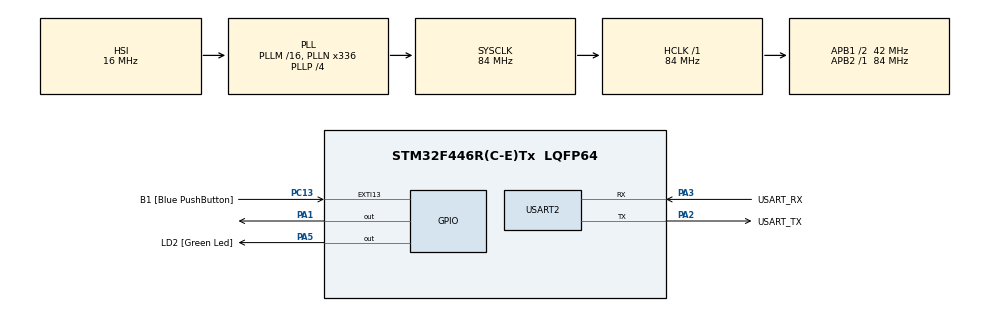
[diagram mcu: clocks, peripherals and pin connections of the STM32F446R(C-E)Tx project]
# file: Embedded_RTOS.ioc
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Mcu.Family=STM32F4
Mcu.Name=STM32F446R(C-E)Tx
Mcu.Package=LQFP64
NVIC.PriorityGroup=NVIC_PRIORITYGROUP_0
NVIC.TIM7_IRQn=true\:0\:0\:false\:false\:true\:true\:true\:true
PA1.Signal=GPIO_Output
PA13.GPIO_Label=TMS
PA13.Mode=Serial_Wire
PA13.Signal=SYS_JTMS-SWDIO
PA14.GPIO_Label=TCK
PA14.Mode=Serial_Wire
PA14.Signal=SYS_JTCK-SWCLK
PA2.GPIO_Label=USART_TX
PA2.Mode=Asynchronous
PA2.Signal=USART2_TX
PA3.GPIO_Label=USART_RX
PA3.Mode=Asynchronous
PA3.Signal=USART2_RX
PA5.GPIO_Label=LD2 [Green Led]
PA5.Signal=GPIO_Output
PB3.GPIO_Label=SWO
PB3.Signal=SYS_JTDO-SWO
PC13.GPIO_Label=B1 [Blue PushButton]
PC13.GPIO_ModeDefaultEXTI=GPIO_MODE_IT_FALLING
PC13.Signal=GPXTI13
PC14-OSC32_IN.Mode=LSE-External-Oscillator
PC14-OSC32_IN.Signal=RCC_OSC32_IN
PC15-OSC32_OUT.Mode=LSE-External-Oscillator
PC15-OSC32_OUT.Signal=RCC_OSC32_OUT
PH0-OSC_IN.Mode=HSE-External-Oscillator
PH0-OSC_IN.Signal=RCC_OSC_IN
PH1-OSC_OUT.Mode=HSE-External-Oscillator
PH1-OSC_OUT.Signal=RCC_OSC_OUT
ProjectManager.HeapSize=0x200
ProjectManager.StackSize=0x400
ProjectManager.TargetToolchain=STM32CubeIDE
RCC.48MHZClocksFreq_Value=84000000
RCC.AHBFreq_Value=84000000
RCC.APB1CLKDivider=RCC_HCLK_DIV2
RCC.APB1Freq_Value=42000000
RCC.APB1TimFreq_Value=84000000
RCC.APB2Freq_Value=84000000
RCC.APB2TimFreq_Value=84000000
RCC.CortexFreq_Value=84000000
RCC.FLatency-AdvancedSettings=FLASH_LATENCY_2
RCC.HCLKFreq_Value=84000000
RCC.HSE_VALUE=8000000
RCC.HSI_VALUE=16000000
RCC.PLLN=336
RCC.PLLP=RCC_PLLP_DIV4
RCC.SYSCLKFreq_VALUE=84000000
RCC.SYSCLKSource=RCC_SYSCLKSOURCE_PLLCLK
RCC.USBFreq_Value=168000000
RCC.VCOOutputFreq_Value=336000000
TIM6.Period=0xffff-1
TIM6.Prescaler=84-1
TIM7.Period=499
TIM7.Prescaler=41999
USART2.VirtualMode=VM_ASYNC
VP_TIM6_VS_ClockSourceINT.Mode=Enable_Timer
VP_TIM7_VS_ClockSourceINT.Mode=Enable_Timer
board=NUCLEO-F446RE

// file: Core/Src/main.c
/* Personal CHanges */
/**
  ******************************************************************************
  * @file           : main.c
  * @brief          : Main program body
  ******************************************************************************
  * @attention
  *
  * Copyright (c) 2025 STMicroelectronics.
  * All rights reserved.
  *
  * This software is licensed under terms that can be found in the LICENSE file
  * in the root directory of this software component.
  * If no LICENSE file comes with this software, it is provided AS-IS.
  *
  ******************************************************************************
  */
/* USER CODE END Header */
#include "main.h"

/* USER CODE BEGIN Includes */
#include "Tasks.h"
#include "Queue.h"
#include "dht11_driver.h"

/* USER CODE END Includes */

TIM_HandleTypeDef htim6;
TIM_HandleTypeDef htim7;

UART_HandleTypeDef huart2;

/* USER CODE BEGIN PV */
volatile uint8_t scheduler_tick = 0;
/* USER CODE END PV */

void SystemClock_Config(void);
static void MX_GPIO_Init(void);
static void MX_USART2_UART_Init(void);
static void MX_TIM6_Init(void);
static void MX_TIM7_Init(void);

int main(void)
{

  /* USER CODE BEGIN 1 */
	// task 1 is the temperature reading
	tasks[0].state = INIT;
	tasks[0].period = periodTemp;
	tasks[0].elapsedTime = tasks[0].period;
	tasks[0].TickFct = &TempSensor;
	//uint32_t lastPrint = 0;

	Q4ucInit(&sharedQueue);

	//tasks 2 is the fan [1] same as zybooks change for actual task
	tasks[1].state = INIT;
	tasks[1].period = periodTest;
	tasks[1].elapsedTime = tasks[1].period;
	tasks[1].TickFct = &test1;

  /* USER CODE END 1 */

  /* MCU Configuration--------------------------------------------------------*/

  /* Reset of all peripherals, Initializes the Flash interface and the Systick. */
  HAL_Init();

  /* Configure the system clock */
  SystemClock_Config();

  /* Initialize all configured peripherals */
  MX_GPIO_Init();
  MX_USART2_UART_Init();
  MX_TIM6_Init();
  MX_TIM7_Init();
  /* USER CODE BEGIN 2 */
  HAL_TIM_Base_Start(&htim6); // setting up the timer for dht11
  HAL_TIM_Base_Start_IT(&htim7); // interrupt timer
  dht11_init(GPIOA, GPIO_PIN_1, &htim6); // setting up the dht11 sensor

  /* USER CODE END 2 */

  /* Infinite loop */
  while (1)
  {

    /* USER CODE BEGIN 3 */
	  if (scheduler_tick) {
	          scheduler_tick = 0;   // clear flag
	          TimerISR();          // run scheduler in thread context
	      }

	      // print queue every 2s uncomment to see queue being pushed and popped
	  /*
	      if (HAL_GetTick() - lastPrint >= 2000) {
	          lastPrint = HAL_GetTick();
	          Q4ucPrint(sharedQueue);
	      }
	      */

	  //HAL_Delay(500);
  }
  /* USER CODE END 3 */
}

void SystemClock_Config(void)
{
  RCC_OscInitTypeDef RCC_OscInitStruct = {0};
  RCC_ClkInitTypeDef RCC_ClkInitStruct = {0};

  /** Configure the main internal regulator output voltage
  */
  __HAL_RCC_PWR_CLK_ENABLE();
  __HAL_PWR_VOLTAGESCALING_CONFIG(PWR_REGULATOR_VOLTAGE_SCALE3);

  /** Initializes the RCC Oscillators according to the specified parameters
  * in the RCC_OscInitTypeDef structure.
  */
  RCC_OscInitStruct.OscillatorType = RCC_OSCILLATORTYPE_HSI;
  RCC_OscInitStruct.HSIState = RCC_HSI_ON;
  RCC_OscInitStruct.HSICalibrationValue = RCC_HSICALIBRATION_DEFAULT;
  RCC_OscInitStruct.PLL.PLLState = RCC_PLL_ON;
  RCC_OscInitStruct.PLL.PLLSource = RCC_PLLSOURCE_HSI;
  RCC_OscInitStruct.PLL.PLLM = 16;
  RCC_OscInitStruct.PLL.PLLN = 336;
  RCC_OscInitStruct.PLL.PLLP = RCC_PLLP_DIV4;
  RCC_OscInitStruct.PLL.PLLQ = 2;
  RCC_OscInitStruct.PLL.PLLR = 2;
  if (HAL_RCC_OscConfig(&RCC_OscInitStruct) != HAL_OK)
  {
    Error_Handler();
  }

  /** Initializes the CPU, AHB and APB buses clocks
  */
  RCC_ClkInitStruct.ClockType = RCC_CLOCKTYPE_HCLK|RCC_CLOCKTYPE_SYSCLK
                              |RCC_CLOCKTYPE_PCLK1|RCC_CLOCKTYPE_PCLK2;
  RCC_ClkInitStruct.SYSCLKSource = RCC_SYSCLKSOURCE_PLLCLK;
  RCC_ClkInitStruct.AHBCLKDivider = RCC_SYSCLK_DIV1;
  RCC_ClkInitStruct.APB1CLKDivider = RCC_HCLK_DIV2;
  RCC_ClkInitStruct.APB2CLKDivider = RCC_HCLK_DIV1;

  if (HAL_RCC_ClockConfig(&RCC_ClkInitStruct, FLASH_LATENCY_2) != HAL_OK)
  {
    Error_Handler();
  }
}

static void MX_TIM6_Init(void)
{

  TIM_MasterConfigTypeDef sMasterConfig = {0};

  htim6.Instance = TIM6;
  htim6.Init.Prescaler = 84-1;
  htim6.Init.CounterMode = TIM_COUNTERMODE_UP;
  htim6.Init.Period = 0xffff-1;
  htim6.Init.AutoReloadPreload = TIM_AUTORELOAD_PRELOAD_DISABLE;
  if (HAL_TIM_Base_Init(&htim6) != HAL_OK)
  {
    Error_Handler();
  }
  sMasterConfig.MasterOutputTrigger = TIM_TRGO_RESET;
  sMasterConfig.MasterSlaveMode = TIM_MASTERSLAVEMODE_DISABLE;
  if (HAL_TIMEx_MasterConfigSynchronization(&htim6, &sMasterConfig) != HAL_OK)
  {
    Error_Handler();
  }

}

static void MX_TIM7_Init(void)
{

  TIM_MasterConfigTypeDef sMasterConfig = {0};

  htim7.Instance = TIM7;
  htim7.Init.Prescaler = 41999;
  htim7.Init.CounterMode = TIM_COUNTERMODE_UP;
  htim7.Init.Period = 499;
  htim7.Init.AutoReloadPreload = TIM_AUTORELOAD_PRELOAD_DISABLE;
  if (HAL_TIM_Base_Init(&htim7) != HAL_OK)
  {
    Error_Handler();
  }
  sMasterConfig.MasterOutputTrigger = TIM_TRGO_RESET;
  sMasterConfig.MasterSlaveMode = TIM_MASTERSLAVEMODE_DISABLE;
  if (HAL_TIMEx_MasterConfigSynchronization(&htim7, &sMasterConfig) != HAL_OK)
  {
    Error_Handler();
  }

}

static void MX_USART2_UART_Init(void)
{

  huart2.Instance = USART2;
  huart2.Init.BaudRate = 115200;
  huart2.Init.WordLength = UART_WORDLENGTH_8B;
  huart2.Init.StopBits = UART_STOPBITS_1;
  huart2.Init.Parity = UART_PARITY_NONE;
  huart2.Init.Mode = UART_MODE_TX_RX;
  huart2.Init.HwFlowCtl = UART_HWCONTROL_NONE;
  huart2.Init.OverSampling = UART_OVERSAMPLING_16;
  if (HAL_UART_Init(&huart2) != HAL_OK)
  {
    Error_Handler();
  }

}

static void MX_GPIO_Init(void)
{
  GPIO_InitTypeDef GPIO_InitStruct = {0};

  /* GPIO Ports Clock Enable */
  __HAL_RCC_GPIOC_CLK_ENABLE();
  __HAL_RCC_GPIOH_CLK_ENABLE();
  __HAL_RCC_GPIOA_CLK_ENABLE();
  __HAL_RCC_GPIOB_CLK_ENABLE();

  /*Configure GPIO pin Output Level */
  HAL_GPIO_WritePin(GPIOA, GPIO_PIN_1|LD2_Pin, GPIO_PIN_RESET);

  /*Configure GPIO pin : B1_Pin */
  GPIO_InitStruct.Pin = B1_Pin;
  GPIO_InitStruct.Mode = GPIO_MODE_IT_FALLING;
  GPIO_InitStruct.Pull = GPIO_NOPULL;
  HAL_GPIO_Init(B1_GPIO_Port, &GPIO_InitStruct);

  /*Configure GPIO pins : PA1 LD2_Pin */
  GPIO_InitStruct.Pin = GPIO_PIN_1|LD2_Pin;
  GPIO_InitStruct.Mode = GPIO_MODE_OUTPUT_PP;
  GPIO_InitStruct.Pull = GPIO_NOPULL;
  GPIO_InitStruct.Speed = GPIO_SPEED_FREQ_LOW;
  HAL_GPIO_Init(GPIOA, &GPIO_InitStruct);

}

/* USER CODE BEGIN 4 */
// timer 7 gloabl interrupt right now it sets a flag for the main loop.
void HAL_TIM_PeriodElapsedCallback(TIM_HandleTypeDef *htim)
{
    if (htim->Instance == TIM7)   // Check which timer fired
    {
    	scheduler_tick = 1;               // Call your scheduler
    }
}
/* USER CODE END 4 */

void Error_Handler(void)
{
  __disable_irq();
  while (1)
  {
  }
}
